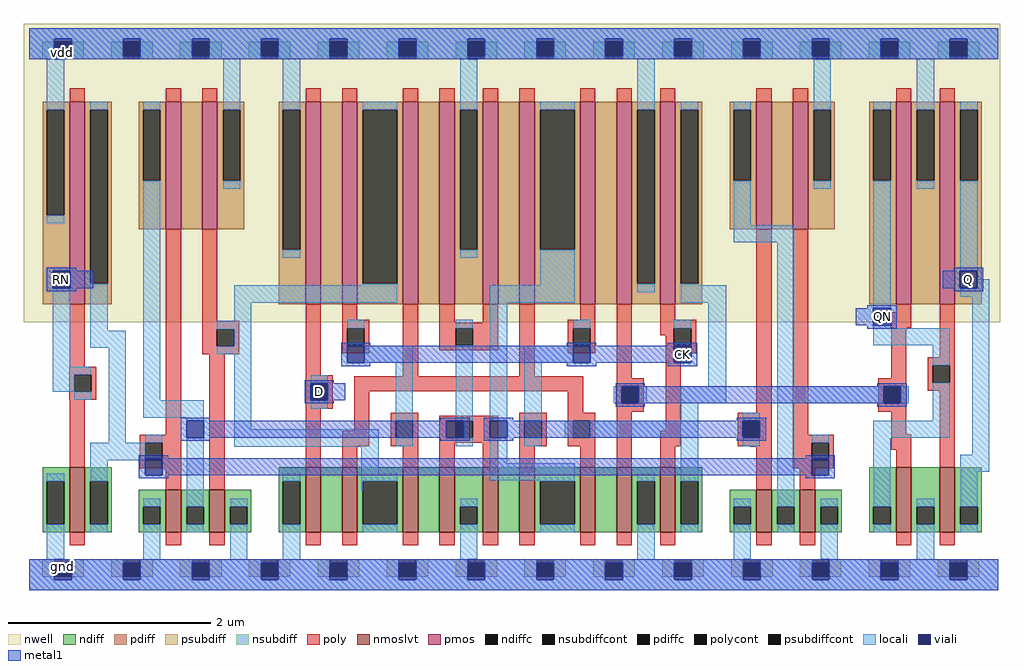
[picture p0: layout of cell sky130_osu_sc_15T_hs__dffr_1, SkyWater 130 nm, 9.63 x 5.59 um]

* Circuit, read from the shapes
.subckt sky130_osu_sc_15T_hs__dffr_1 RN D CK Q QN
XM1 n1 RN gnd gnd sky130_fd_pr__nfet_01v8_lvt w=0.64 l=0.15
XM2 n2 n1 gnd gnd sky130_fd_pr__nfet_01v8_lvt w=0.42 l=0.15
XM3 gnd n3 n2 gnd sky130_fd_pr__nfet_01v8_lvt w=0.42 l=0.15
XM4 n4 D gnd gnd sky130_fd_pr__nfet_01v8_lvt w=0.64 l=0.15
XM5 n3 n5 n4 gnd sky130_fd_pr__nfet_01v8_lvt w=0.64 l=0.15
XM6 n6 CK n3 gnd sky130_fd_pr__nfet_01v8_lvt w=0.64 l=0.15
XM7 gnd n2 n6 gnd sky130_fd_pr__nfet_01v8_lvt w=0.64 l=0.15
XM8 n7 n2 gnd gnd sky130_fd_pr__nfet_01v8_lvt w=0.64 l=0.15
XM9 n8 CK n7 gnd sky130_fd_pr__nfet_01v8_lvt w=0.64 l=0.15
XM10 n9 n5 n8 gnd sky130_fd_pr__nfet_01v8_lvt w=0.64 l=0.15
XM11 gnd n10 n9 gnd sky130_fd_pr__nfet_01v8_lvt w=0.64 l=0.15
XM12 n5 CK gnd gnd sky130_fd_pr__nfet_01v8_lvt w=0.64 l=0.15
XM13 n10 n8 gnd gnd sky130_fd_pr__nfet_01v8_lvt w=0.42 l=0.15
XM14 gnd n1 n10 gnd sky130_fd_pr__nfet_01v8_lvt w=0.42 l=0.15
XM15 gnd n10 QN gnd sky130_fd_pr__nfet_01v8_lvt w=0.64 l=0.15
XM16 Q QN gnd gnd sky130_fd_pr__nfet_01v8_lvt w=0.64 l=0.15
XM17 n1 RN vdd vdd sky130_fd_pr__pfet_01v8 w=2 l=0.15
XM18 n11 n1 n2 vdd sky130_fd_pr__pfet_01v8 w=1.26 l=0.15
XM19 vdd n3 n11 vdd sky130_fd_pr__pfet_01v8 w=1.26 l=0.15
XM20 n12 D vdd vdd sky130_fd_pr__pfet_01v8 w=2 l=0.15
XM21 n3 CK n12 vdd sky130_fd_pr__pfet_01v8 w=2 l=0.15
XM22 n13 n5 n3 vdd sky130_fd_pr__pfet_01v8 w=2 l=0.15
XM23 vdd n2 n13 vdd sky130_fd_pr__pfet_01v8 w=2 l=0.15
XM24 n14 n2 vdd vdd sky130_fd_pr__pfet_01v8 w=2 l=0.15
XM25 n8 n5 n14 vdd sky130_fd_pr__pfet_01v8 w=2 l=0.15
XM26 n15 CK n8 vdd sky130_fd_pr__pfet_01v8 w=2 l=0.15
XM27 vdd n10 n15 vdd sky130_fd_pr__pfet_01v8 w=2 l=0.15
XM28 n5 CK vdd vdd sky130_fd_pr__pfet_01v8 w=2 l=0.15
XM29 n16 n8 n10 vdd sky130_fd_pr__pfet_01v8 w=1.26 l=0.15
XM30 vdd n1 n16 vdd sky130_fd_pr__pfet_01v8 w=1.26 l=0.15
XM31 vdd n10 QN vdd sky130_fd_pr__pfet_01v8 w=2 l=0.15
XM32 Q QN vdd vdd sky130_fd_pr__pfet_01v8 w=2 l=0.15
.ends

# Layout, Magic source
magic
tech sky130A
magscale 1 2
<< nwell >>
rect -10 529 1917 1119
<< nmoslvt >>
rect 80 115 110 243
rect 270 115 300 199
rect 356 115 386 199
rect 546 115 576 243
rect 618 115 648 243
rect 738 115 768 243
rect 810 115 840 243
rect 896 115 926 243
rect 968 115 998 243
rect 1088 115 1118 243
rect 1160 115 1190 243
rect 1246 115 1276 243
rect 1436 115 1466 199
rect 1522 115 1552 199
rect 1712 115 1742 243
rect 1798 115 1828 243
<< pmos >>
rect 80 565 110 965
rect 270 713 300 965
rect 342 713 372 965
rect 546 565 576 965
rect 618 565 648 965
rect 738 565 768 965
rect 810 565 840 965
rect 896 565 926 965
rect 968 565 998 965
rect 1088 565 1118 965
rect 1160 565 1190 965
rect 1246 565 1276 965
rect 1436 713 1466 965
rect 1508 713 1538 965
rect 1712 565 1742 965
rect 1798 565 1828 965
<< ndiff >>
rect 27 215 80 243
rect 27 131 35 215
rect 69 131 80 215
rect 27 115 80 131
rect 110 215 163 243
rect 110 131 121 215
rect 155 131 163 215
rect 493 215 546 243
rect 110 115 163 131
rect 217 165 270 199
rect 217 131 225 165
rect 259 131 270 165
rect 217 115 270 131
rect 300 165 356 199
rect 300 131 311 165
rect 345 131 356 165
rect 300 115 356 131
rect 386 165 439 199
rect 386 131 397 165
rect 431 131 439 165
rect 386 115 439 131
rect 493 131 501 215
rect 535 131 546 215
rect 493 115 546 131
rect 576 115 618 243
rect 648 215 738 243
rect 648 131 659 215
rect 727 131 738 215
rect 648 115 738 131
rect 768 115 810 243
rect 840 165 896 243
rect 840 131 851 165
rect 885 131 896 165
rect 840 115 896 131
rect 926 115 968 243
rect 998 215 1088 243
rect 998 131 1009 215
rect 1077 131 1088 215
rect 998 115 1088 131
rect 1118 115 1160 243
rect 1190 215 1246 243
rect 1190 131 1201 215
rect 1235 131 1246 215
rect 1190 115 1246 131
rect 1276 215 1329 243
rect 1276 131 1287 215
rect 1321 131 1329 215
rect 1276 115 1329 131
rect 1383 165 1436 199
rect 1383 131 1391 165
rect 1425 131 1436 165
rect 1383 115 1436 131
rect 1466 165 1522 199
rect 1466 131 1477 165
rect 1511 131 1522 165
rect 1466 115 1522 131
rect 1552 165 1605 199
rect 1552 131 1563 165
rect 1597 131 1605 165
rect 1552 115 1605 131
rect 1659 165 1712 243
rect 1659 131 1667 165
rect 1701 131 1712 165
rect 1659 115 1712 131
rect 1742 165 1798 243
rect 1742 131 1753 165
rect 1787 131 1798 165
rect 1742 115 1798 131
rect 1828 165 1881 243
rect 1828 131 1839 165
rect 1873 131 1881 165
rect 1828 115 1881 131
<< pdiff >>
rect 27 949 80 965
rect 27 741 35 949
rect 69 741 80 949
rect 27 565 80 741
rect 110 949 163 965
rect 110 605 121 949
rect 155 605 163 949
rect 217 949 270 965
rect 217 809 225 949
rect 259 809 270 949
rect 217 713 270 809
rect 300 713 342 965
rect 372 949 425 965
rect 372 809 383 949
rect 417 809 425 949
rect 372 713 425 809
rect 493 949 546 965
rect 110 565 163 605
rect 493 673 501 949
rect 535 673 546 949
rect 493 565 546 673
rect 576 565 618 965
rect 648 949 738 965
rect 648 605 659 949
rect 727 605 738 949
rect 648 565 738 605
rect 768 565 810 965
rect 840 949 896 965
rect 840 673 851 949
rect 885 673 896 949
rect 840 565 896 673
rect 926 565 968 965
rect 998 949 1088 965
rect 998 673 1009 949
rect 1077 673 1088 949
rect 998 565 1088 673
rect 1118 565 1160 965
rect 1190 949 1246 965
rect 1190 605 1201 949
rect 1235 605 1246 949
rect 1190 565 1246 605
rect 1276 949 1329 965
rect 1276 605 1287 949
rect 1321 605 1329 949
rect 1383 949 1436 965
rect 1383 809 1391 949
rect 1425 809 1436 949
rect 1383 713 1436 809
rect 1466 713 1508 965
rect 1538 949 1591 965
rect 1538 809 1549 949
rect 1583 809 1591 949
rect 1538 713 1591 809
rect 1659 949 1712 965
rect 1659 809 1667 949
rect 1701 809 1712 949
rect 1276 565 1329 605
rect 1659 565 1712 809
rect 1742 949 1798 965
rect 1742 809 1753 949
rect 1787 809 1798 949
rect 1742 565 1798 809
rect 1828 949 1881 965
rect 1828 809 1839 949
rect 1873 809 1881 949
rect 1828 565 1881 809
<< ndiffc >>
rect 35 131 69 215
rect 121 131 155 215
rect 225 131 259 165
rect 311 131 345 165
rect 397 131 431 165
rect 501 131 535 215
rect 659 131 727 215
rect 851 131 885 165
rect 1009 131 1077 215
rect 1201 131 1235 215
rect 1287 131 1321 215
rect 1391 131 1425 165
rect 1477 131 1511 165
rect 1563 131 1597 165
rect 1667 131 1701 165
rect 1753 131 1787 165
rect 1839 131 1873 165
<< pdiffc >>
rect 35 741 69 949
rect 121 605 155 949
rect 225 809 259 949
rect 383 809 417 949
rect 501 673 535 949
rect 659 605 727 949
rect 851 673 885 949
rect 1009 673 1077 949
rect 1201 605 1235 949
rect 1287 605 1321 949
rect 1391 809 1425 949
rect 1549 809 1583 949
rect 1667 809 1701 949
rect 1753 809 1787 949
rect 1839 809 1873 949
<< psubdiff >>
rect 26 27 50 61
rect 84 27 108 61
rect 162 27 186 61
rect 220 27 244 61
rect 298 27 322 61
rect 356 27 380 61
rect 434 27 458 61
rect 492 27 516 61
rect 570 27 594 61
rect 628 27 652 61
rect 706 27 730 61
rect 764 27 788 61
rect 842 27 866 61
rect 900 27 924 61
rect 978 27 1002 61
rect 1036 27 1060 61
rect 1114 27 1138 61
rect 1172 27 1196 61
rect 1250 27 1274 61
rect 1308 27 1332 61
rect 1386 27 1410 61
rect 1444 27 1468 61
rect 1522 27 1546 61
rect 1580 27 1604 61
rect 1658 27 1682 61
rect 1716 27 1740 61
rect 1794 27 1818 61
rect 1852 27 1876 61
<< nsubdiff >>
rect 26 1049 50 1083
rect 84 1049 108 1083
rect 162 1049 186 1083
rect 220 1049 244 1083
rect 298 1049 322 1083
rect 356 1049 380 1083
rect 434 1049 458 1083
rect 492 1049 516 1083
rect 570 1049 594 1083
rect 628 1049 652 1083
rect 706 1049 730 1083
rect 764 1049 788 1083
rect 842 1049 866 1083
rect 900 1049 924 1083
rect 978 1049 1002 1083
rect 1036 1049 1060 1083
rect 1114 1049 1138 1083
rect 1172 1049 1196 1083
rect 1250 1049 1274 1083
rect 1308 1049 1332 1083
rect 1386 1049 1410 1083
rect 1444 1049 1468 1083
rect 1522 1049 1546 1083
rect 1580 1049 1604 1083
rect 1658 1049 1682 1083
rect 1716 1049 1740 1083
rect 1794 1049 1818 1083
rect 1852 1049 1876 1083
<< psubdiffcont >>
rect 50 27 84 61
rect 186 27 220 61
rect 322 27 356 61
rect 458 27 492 61
rect 594 27 628 61
rect 730 27 764 61
rect 866 27 900 61
rect 1002 27 1036 61
rect 1138 27 1172 61
rect 1274 27 1308 61
rect 1410 27 1444 61
rect 1546 27 1580 61
rect 1682 27 1716 61
rect 1818 27 1852 61
<< nsubdiffcont >>
rect 50 1049 84 1083
rect 186 1049 220 1083
rect 322 1049 356 1083
rect 458 1049 492 1083
rect 594 1049 628 1083
rect 730 1049 764 1083
rect 866 1049 900 1083
rect 1002 1049 1036 1083
rect 1138 1049 1172 1083
rect 1274 1049 1308 1083
rect 1410 1049 1444 1083
rect 1546 1049 1580 1083
rect 1682 1049 1716 1083
rect 1818 1049 1852 1083
<< poly >>
rect 80 965 110 991
rect 270 965 300 991
rect 342 965 372 991
rect 546 965 576 991
rect 618 965 648 991
rect 738 965 768 991
rect 810 965 840 991
rect 896 965 926 991
rect 968 965 998 991
rect 1088 965 1118 991
rect 1160 965 1190 991
rect 1246 965 1276 991
rect 1436 965 1466 991
rect 1508 965 1538 991
rect 1712 965 1742 991
rect 1798 965 1828 991
rect 80 442 110 565
rect 79 426 133 442
rect 79 392 89 426
rect 123 392 133 426
rect 79 376 133 392
rect 79 375 110 376
rect 80 243 110 375
rect 270 307 300 713
rect 342 532 372 713
rect 342 516 415 532
rect 342 482 371 516
rect 405 482 415 516
rect 342 466 415 482
rect 219 291 300 307
rect 219 257 229 291
rect 263 257 300 291
rect 219 241 300 257
rect 270 199 300 241
rect 356 199 386 466
rect 546 425 576 565
rect 618 534 648 565
rect 618 518 672 534
rect 618 484 628 518
rect 662 484 672 518
rect 618 468 672 484
rect 546 409 600 425
rect 738 423 768 565
rect 810 528 840 565
rect 896 528 926 565
rect 810 518 926 528
rect 810 484 842 518
rect 876 484 926 518
rect 810 474 926 484
rect 968 423 998 565
rect 1088 534 1118 565
rect 1064 518 1118 534
rect 1064 484 1074 518
rect 1108 484 1118 518
rect 1064 468 1118 484
rect 546 375 556 409
rect 590 375 600 409
rect 546 359 600 375
rect 642 393 1094 423
rect 546 243 576 359
rect 642 315 672 393
rect 1064 351 1094 393
rect 1160 419 1190 565
rect 1246 534 1276 565
rect 1246 518 1317 534
rect 1246 504 1273 518
rect 1257 484 1273 504
rect 1307 484 1317 518
rect 1257 468 1317 484
rect 1160 403 1214 419
rect 1160 369 1170 403
rect 1204 369 1214 403
rect 1160 353 1214 369
rect 618 285 672 315
rect 714 335 768 351
rect 714 301 724 335
rect 758 301 768 335
rect 714 285 768 301
rect 618 243 648 285
rect 738 243 768 285
rect 810 335 926 345
rect 810 301 842 335
rect 876 301 926 335
rect 810 291 926 301
rect 810 243 840 291
rect 896 243 926 291
rect 968 335 1022 351
rect 968 301 978 335
rect 1012 301 1022 335
rect 968 285 1022 301
rect 1064 335 1118 351
rect 1064 301 1074 335
rect 1108 301 1118 335
rect 1064 285 1118 301
rect 968 243 998 285
rect 1088 243 1118 285
rect 1160 243 1190 353
rect 1257 315 1287 468
rect 1436 351 1466 713
rect 1246 285 1287 315
rect 1399 335 1466 351
rect 1399 301 1409 335
rect 1443 301 1466 335
rect 1399 285 1466 301
rect 1246 243 1276 285
rect 1423 284 1466 285
rect 1436 199 1466 284
rect 1508 307 1538 713
rect 1712 549 1742 565
rect 1702 519 1742 549
rect 1702 419 1732 519
rect 1798 460 1828 565
rect 1677 403 1732 419
rect 1677 369 1687 403
rect 1721 369 1732 403
rect 1774 444 1828 460
rect 1774 410 1784 444
rect 1818 410 1828 444
rect 1774 394 1828 410
rect 1677 353 1732 369
rect 1702 308 1732 353
rect 1508 291 1589 307
rect 1508 257 1545 291
rect 1579 257 1589 291
rect 1702 278 1742 308
rect 1508 241 1589 257
rect 1712 243 1742 278
rect 1798 243 1828 394
rect 1522 199 1552 241
rect 80 89 110 115
rect 270 89 300 115
rect 356 89 386 115
rect 546 89 576 115
rect 618 89 648 115
rect 738 89 768 115
rect 810 89 840 115
rect 896 89 926 115
rect 968 89 998 115
rect 1088 89 1118 115
rect 1160 89 1190 115
rect 1246 89 1276 115
rect 1436 89 1466 115
rect 1522 89 1552 115
rect 1712 89 1742 115
rect 1798 89 1828 115
<< polycont >>
rect 89 392 123 426
rect 371 482 405 516
rect 229 257 263 291
rect 628 484 662 518
rect 842 484 876 518
rect 1074 484 1108 518
rect 556 375 590 409
rect 1273 484 1307 518
rect 1170 369 1204 403
rect 724 301 758 335
rect 842 301 876 335
rect 978 301 1012 335
rect 1074 301 1108 335
rect 1409 301 1443 335
rect 1687 369 1721 403
rect 1784 410 1818 444
rect 1545 257 1579 291
<< locali >>
rect 0 1089 1914 1110
rect 0 1049 50 1089
rect 84 1049 186 1089
rect 220 1049 322 1089
rect 356 1049 458 1089
rect 492 1049 594 1089
rect 628 1049 730 1089
rect 764 1049 866 1089
rect 900 1049 1002 1089
rect 1036 1049 1138 1089
rect 1172 1049 1274 1089
rect 1308 1049 1410 1089
rect 1444 1049 1546 1089
rect 1580 1049 1682 1089
rect 1716 1049 1818 1089
rect 1852 1049 1914 1089
rect 35 949 69 1049
rect 35 725 69 741
rect 121 949 155 965
rect 47 442 81 597
rect 121 513 155 605
rect 225 949 259 965
rect 121 479 191 513
rect 47 426 123 442
rect 47 392 89 426
rect 89 376 123 392
rect 157 291 191 479
rect 225 375 259 809
rect 383 949 417 1049
rect 383 793 417 809
rect 501 949 535 1049
rect 501 657 535 673
rect 659 949 727 965
rect 851 949 885 1049
rect 851 657 885 673
rect 1009 949 1077 965
rect 659 602 727 605
rect 1009 602 1077 673
rect 405 568 727 602
rect 910 568 1077 602
rect 1201 949 1235 1049
rect 1201 589 1235 605
rect 1287 949 1321 965
rect 1391 949 1425 965
rect 1391 721 1425 809
rect 1549 949 1583 1049
rect 1549 793 1583 809
rect 1667 949 1701 965
rect 1391 687 1511 721
rect 1287 602 1321 605
rect 1287 568 1377 602
rect 405 532 439 568
rect 371 516 439 532
rect 405 482 439 516
rect 371 466 439 482
rect 225 341 345 375
rect 311 335 345 341
rect 229 291 263 307
rect 121 257 229 291
rect 35 215 69 231
rect 35 61 69 131
rect 121 215 155 257
rect 121 115 155 131
rect 225 165 259 181
rect 225 61 259 131
rect 311 165 345 301
rect 405 318 439 466
rect 628 518 662 534
rect 628 483 662 484
rect 842 518 876 534
rect 662 449 758 483
rect 556 409 590 425
rect 556 359 590 375
rect 724 335 758 449
rect 842 335 876 484
rect 405 284 690 318
rect 724 285 758 301
rect 842 285 876 301
rect 910 335 944 568
rect 1074 518 1108 534
rect 1074 483 1108 484
rect 656 231 690 284
rect 910 251 944 301
rect 978 449 1074 483
rect 1273 518 1307 534
rect 1273 483 1307 484
rect 978 335 1012 449
rect 1341 403 1377 568
rect 1154 369 1170 403
rect 1204 369 1220 403
rect 1287 369 1377 403
rect 1477 403 1511 687
rect 1667 557 1701 809
rect 1753 949 1787 1049
rect 1753 793 1787 809
rect 1839 949 1873 965
rect 1839 631 1873 809
rect 1872 614 1873 631
rect 1872 597 1896 614
rect 1839 580 1896 597
rect 1667 518 1701 523
rect 1667 484 1818 518
rect 1784 444 1818 484
rect 1477 369 1687 403
rect 1721 369 1737 403
rect 1287 335 1321 369
rect 1058 301 1074 335
rect 1108 301 1321 335
rect 978 285 1012 301
rect 501 215 535 231
rect 311 115 345 131
rect 397 165 431 181
rect 397 61 431 131
rect 656 215 727 231
rect 910 217 1077 251
rect 656 197 659 215
rect 501 61 535 131
rect 1009 215 1077 217
rect 659 115 727 131
rect 851 165 885 181
rect 851 61 885 131
rect 1009 115 1077 131
rect 1201 215 1235 231
rect 1201 61 1235 131
rect 1287 215 1321 301
rect 1409 335 1443 351
rect 1409 285 1443 301
rect 1287 115 1321 131
rect 1391 165 1425 181
rect 1391 61 1425 131
rect 1477 165 1511 369
rect 1784 335 1818 410
rect 1545 291 1579 307
rect 1667 301 1818 335
rect 1477 115 1511 131
rect 1563 165 1597 181
rect 1563 61 1597 131
rect 1667 165 1701 301
rect 1862 268 1896 580
rect 1839 234 1896 268
rect 1667 115 1701 131
rect 1753 165 1787 181
rect 1753 61 1787 131
rect 1839 165 1873 234
rect 1839 115 1873 131
rect 0 21 50 61
rect 84 21 186 61
rect 220 21 322 61
rect 356 21 458 61
rect 492 21 594 61
rect 628 21 730 61
rect 764 21 866 61
rect 900 21 1002 61
rect 1036 21 1138 61
rect 1172 21 1274 61
rect 1308 21 1410 61
rect 1444 21 1546 61
rect 1580 21 1682 61
rect 1716 21 1818 61
rect 1852 21 1914 61
rect 0 0 1914 21
<< viali >>
rect 50 1083 84 1089
rect 50 1055 84 1083
rect 186 1083 220 1089
rect 186 1055 220 1083
rect 322 1083 356 1089
rect 322 1055 356 1083
rect 458 1083 492 1089
rect 458 1055 492 1083
rect 594 1083 628 1089
rect 594 1055 628 1083
rect 730 1083 764 1089
rect 730 1055 764 1083
rect 866 1083 900 1089
rect 866 1055 900 1083
rect 1002 1083 1036 1089
rect 1002 1055 1036 1083
rect 1138 1083 1172 1089
rect 1138 1055 1172 1083
rect 1274 1083 1308 1089
rect 1274 1055 1308 1083
rect 1410 1083 1444 1089
rect 1410 1055 1444 1083
rect 1546 1083 1580 1089
rect 1546 1055 1580 1083
rect 1682 1083 1716 1089
rect 1682 1055 1716 1083
rect 1818 1083 1852 1089
rect 1818 1055 1852 1083
rect 47 597 81 631
rect 229 257 263 261
rect 229 227 263 257
rect 311 301 345 335
rect 628 449 662 483
rect 556 375 590 409
rect 824 301 842 335
rect 842 301 858 335
rect 910 301 944 335
rect 1074 449 1108 483
rect 1273 449 1307 483
rect 1170 369 1204 403
rect 1838 597 1872 631
rect 1667 523 1701 557
rect 1687 369 1721 403
rect 1409 301 1443 335
rect 1545 257 1579 261
rect 1545 227 1579 257
rect 50 27 84 55
rect 50 21 84 27
rect 186 27 220 55
rect 186 21 220 27
rect 322 27 356 55
rect 322 21 356 27
rect 458 27 492 55
rect 458 21 492 27
rect 594 27 628 55
rect 594 21 628 27
rect 730 27 764 55
rect 730 21 764 27
rect 866 27 900 55
rect 866 21 900 27
rect 1002 27 1036 55
rect 1002 21 1036 27
rect 1138 27 1172 55
rect 1138 21 1172 27
rect 1274 27 1308 55
rect 1274 21 1308 27
rect 1410 27 1444 55
rect 1410 21 1444 27
rect 1546 27 1580 55
rect 1546 21 1580 27
rect 1682 27 1716 55
rect 1682 21 1716 27
rect 1818 27 1852 55
rect 1818 21 1852 27
<< metal1 >>
rect 0 1089 1914 1110
rect 0 1055 50 1089
rect 84 1055 186 1089
rect 220 1055 322 1089
rect 356 1055 458 1089
rect 492 1055 594 1089
rect 628 1055 730 1089
rect 764 1055 866 1089
rect 900 1055 1002 1089
rect 1036 1055 1138 1089
rect 1172 1055 1274 1089
rect 1308 1055 1410 1089
rect 1444 1055 1546 1089
rect 1580 1055 1682 1089
rect 1716 1055 1818 1089
rect 1852 1055 1914 1089
rect 0 1049 1914 1055
rect 35 631 93 637
rect 1826 631 1884 637
rect 35 597 47 631
rect 81 597 127 631
rect 1804 597 1838 631
rect 1872 597 1884 631
rect 35 591 93 597
rect 1826 591 1884 597
rect 1655 557 1713 563
rect 1632 523 1667 557
rect 1701 523 1713 557
rect 1655 517 1713 523
rect 616 483 674 489
rect 1062 483 1120 489
rect 1261 483 1319 489
rect 616 449 628 483
rect 662 449 1074 483
rect 1108 449 1273 483
rect 1307 449 1319 483
rect 616 443 674 449
rect 1062 443 1120 449
rect 1261 443 1319 449
rect 544 409 602 415
rect 544 375 556 409
rect 590 375 624 409
rect 1158 403 1216 409
rect 1675 403 1733 409
rect 544 369 602 375
rect 1158 369 1170 403
rect 1204 369 1687 403
rect 1721 369 1733 403
rect 1158 363 1216 369
rect 1675 363 1733 369
rect 299 335 357 341
rect 812 335 870 341
rect 299 301 311 335
rect 345 301 824 335
rect 858 301 870 335
rect 299 295 357 301
rect 812 295 870 301
rect 898 335 956 341
rect 1397 335 1455 341
rect 898 301 910 335
rect 944 301 1409 335
rect 1443 301 1455 335
rect 898 295 956 301
rect 1397 295 1455 301
rect 217 261 275 267
rect 1533 261 1591 267
rect 217 227 229 261
rect 263 227 1545 261
rect 1579 227 1591 261
rect 217 221 275 227
rect 1533 221 1591 227
rect 0 55 1914 61
rect 0 21 50 55
rect 84 21 186 55
rect 220 21 322 55
rect 356 21 458 55
rect 492 21 594 55
rect 628 21 730 55
rect 764 21 866 55
rect 900 21 1002 55
rect 1036 21 1138 55
rect 1172 21 1274 55
rect 1308 21 1410 55
rect 1444 21 1546 55
rect 1580 21 1682 55
rect 1716 21 1818 55
rect 1852 21 1914 55
rect 0 0 1914 21
<< labels >>
rlabel viali 65 614 65 614 1 RN
port 1 n
rlabel viali 573 392 573 392 1 D
port 2 n
rlabel viali 1290 466 1290 466 1 CK
port 3 n
rlabel viali 1855 614 1855 614 1 Q
port 4 n
rlabel viali 1685 540 1685 540 1 QN
port 5 n
rlabel viali 67 48 67 48 1 gnd
rlabel viali 67 1062 67 1062 1 vdd
<< end >>
